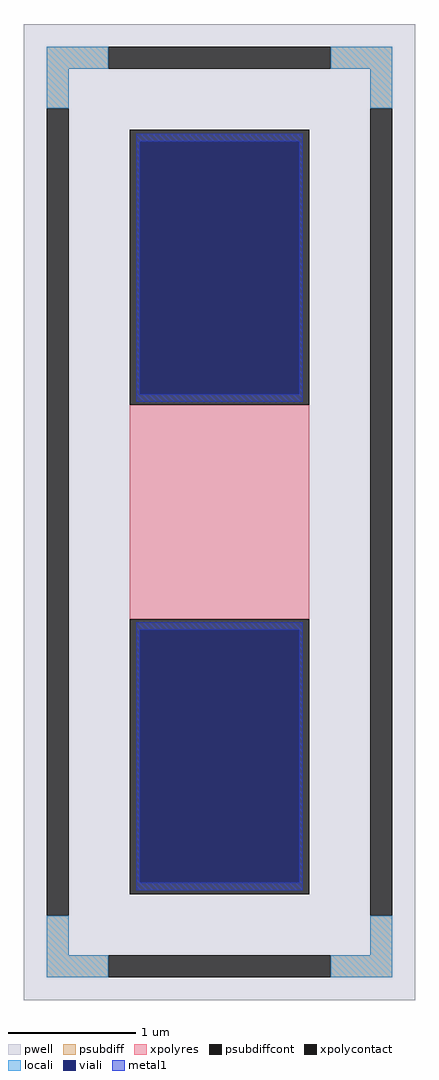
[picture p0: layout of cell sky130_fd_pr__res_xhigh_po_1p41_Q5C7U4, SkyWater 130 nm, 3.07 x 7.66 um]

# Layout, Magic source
magic
tech sky130A
magscale 1 2
<< pwell >>
rect -307 -766 307 766
<< psubdiff >>
rect -271 696 -175 730
rect 175 696 271 730
rect -271 634 -237 696
rect 237 634 271 696
rect -271 -696 -237 -634
rect 237 -696 271 -634
rect -271 -730 -175 -696
rect 175 -730 271 -696
<< psubdiffcont >>
rect -175 696 175 730
rect -271 -634 -237 634
rect 237 -634 271 634
rect -175 -730 175 -696
<< xpolycontact >>
rect -141 168 141 600
rect -141 -600 141 -168
<< xpolyres >>
rect -141 -168 141 168
<< locali >>
rect -271 696 -175 730
rect 175 696 271 730
rect -271 634 -237 696
rect 237 634 271 696
rect -271 -696 -237 -634
rect 237 -696 271 -634
rect -271 -730 -175 -696
rect 175 -730 271 -696
<< viali >>
rect -125 185 125 582
rect -125 -582 125 -185
<< metal1 >>
rect -131 582 131 594
rect -131 185 -125 582
rect 125 185 131 582
rect -131 173 131 185
rect -131 -185 131 -173
rect -131 -582 -125 -185
rect 125 -582 131 -185
rect -131 -594 131 -582
<< properties >>
string FIXED_BBOX -254 -713 254 713
string gencell sky130_fd_pr__res_xhigh_po_1p41
string library sky130
string parameters w 1.410 l 1.835 m 1 nx 1 wmin 1.410 lmin 0.50 rho 2000 val 2.869k dummy 0 dw 0.0 term 188.2 sterm 0.0 caplen 0 wmax 1.410 guard 1 glc 1 grc 1 gtc 1 gbc 1 compatible {sky130_fd_pr__res_xhigh_po_0p35  sky130_fd_pr__res_xhigh_po_0p69 sky130_fd_pr__res_xhigh_po_1p41  sky130_fd_pr__res_xhigh_po_2p85 sky130_fd_pr__res_xhigh_po_5p73} snake 0 full_metal 1 n_guard 0 hv_guard 0 vias 1 viagb 0 viagt 0 viagl 0 viagr 0
<< end >>
